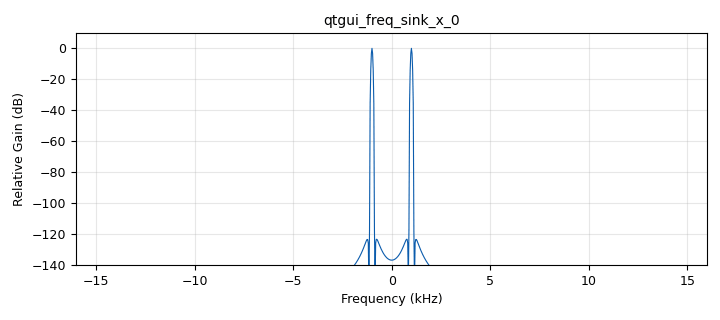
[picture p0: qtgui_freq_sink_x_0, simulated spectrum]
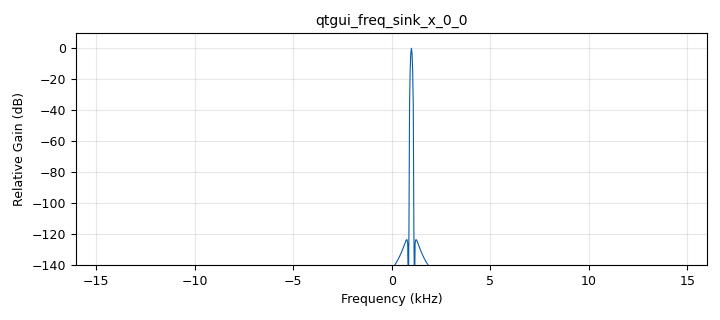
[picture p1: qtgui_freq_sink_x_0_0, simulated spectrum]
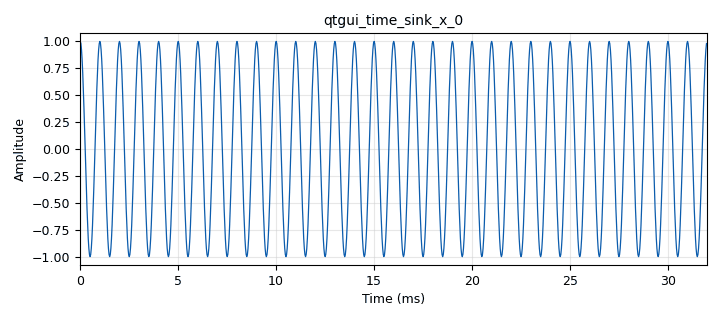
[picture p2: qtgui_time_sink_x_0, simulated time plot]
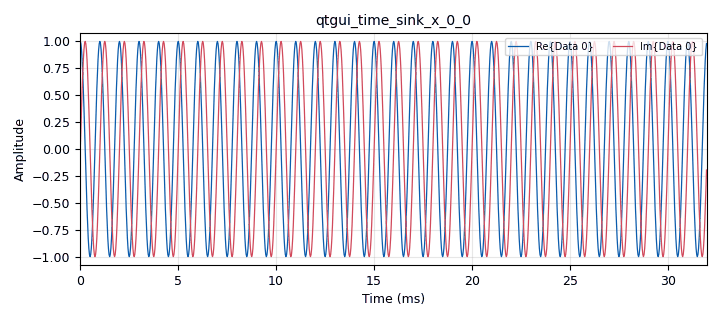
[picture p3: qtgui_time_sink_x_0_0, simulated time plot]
options:
  parameters:
    generate_options: qt_gui
    id: top_block
    output_language: python
    title: Not titled yet
  states: {}

blocks:
- name: Amplitud
  id: variable_qtgui_range
  parameters:
    start: '0'
    step: '0.01'
    stop: '1'
    value: '1'
  states: {}
- name: Frecuencia
  id: variable_qtgui_range
  parameters:
    start: '0'
    step: '10'
    stop: '1000'
    value: '1000'
  states: {}
- name: samp_rate
  id: variable
  parameters:
    value: '32000'
  states: {}
- name: analog_const_source_x_0
  id: analog_const_source_x
  parameters:
    const: '5.58'
    type: float
  states: {}
- name: analog_const_source_x_0_0
  id: analog_const_source_x
  parameters:
    const: '2.79'
    type: complex
  states: {}
- name: analog_sig_source_x_0
  id: analog_sig_source_x
  parameters:
    amp: Amplitud
    freq: Frecuencia
    offset: '0'
    phase: '0'
    samp_rate: samp_rate
    type: float
    waveform: analog.GR_COS_WAVE
  states: {}
- name: analog_sig_source_x_0_0
  id: analog_sig_source_x
  parameters:
    amp: Amplitud
    freq: Frecuencia
    offset: '0'
    phase: '0'
    samp_rate: samp_rate
    type: complex
    waveform: analog.GR_COS_WAVE
  states: {}
- name: blocks_multiply_xx_0
  id: blocks_multiply_xx
  parameters:
    type: float
  states: {}
- name: blocks_multiply_xx_0_0
  id: blocks_multiply_xx
  parameters:
    type: complex
  states: {}
- name: qtgui_freq_sink_x_0
  id: qtgui_freq_sink_x
  parameters:
    bw: samp_rate
    ctrlpanel: 'True'
    fc: '0'
    fftsize: '1024'
    type: float
  states: {}
- name: qtgui_freq_sink_x_0_0
  id: qtgui_freq_sink_x
  parameters:
    bw: samp_rate
    ctrlpanel: 'True'
    fc: '0'
    fftsize: '1024'
    type: complex
  states: {}
- name: qtgui_time_sink_x_0
  id: qtgui_time_sink_x
  parameters:
    ctrlpanel: 'True'
    size: '1024'
    srate: samp_rate
    type: float
  states: {}
- name: qtgui_time_sink_x_0_0
  id: qtgui_time_sink_x
  parameters:
    ctrlpanel: 'True'
    size: '1024'
    srate: samp_rate
    type: complex
  states: {}

connections:
- [analog_const_source_x_0, '0', blocks_multiply_xx_0, '1']
- [analog_const_source_x_0_0, '0', blocks_multiply_xx_0_0, '1']
- [analog_sig_source_x_0, '0', blocks_multiply_xx_0, '0']
- [analog_sig_source_x_0, '0', qtgui_time_sink_x_0, '0']
- [analog_sig_source_x_0_0, '0', blocks_multiply_xx_0_0, '0']
- [analog_sig_source_x_0_0, '0', qtgui_time_sink_x_0_0, '0']
- [blocks_multiply_xx_0, '0', qtgui_freq_sink_x_0, '0']
- [blocks_multiply_xx_0_0, '0', qtgui_freq_sink_x_0_0, '0']

metadata:
  file_format: 1
  grc_version: 3.10.5.1
